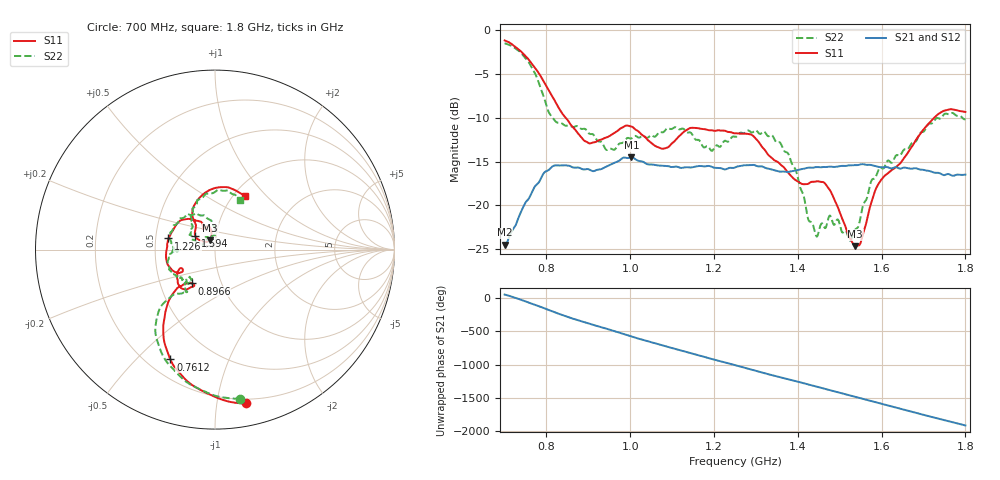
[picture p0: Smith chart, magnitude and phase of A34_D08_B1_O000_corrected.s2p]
! Created with skrf 1.9.0 (http://scikit-rf.org).
# Hz S RI R 50.0
!freq ReS11 ImS11 ReS21 ImS21 ReS12 ImS12 ReS22 ImS22
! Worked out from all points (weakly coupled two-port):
!   1601 points, 700 MHz to 1.8 GHz, reference 50 ohm
!   highest |S21| = -14.52 dB at 1.002 GHz (marker M1); lowest = -24.5 dB at 700 MHz (marker M2)
!   lowest |S11| = -24.7 dB at 1.537 GHz (marker M3), VSWR 1.12, Z = 47.2 + j4.92 ohm
!   |S11| at or under -10 dB: 845.9 MHz to 1.725 GHz (879.5 MHz wide, 68.4 % of centre)
!   |S22| runs from -24.1 to -1.5 dB; largest |S21 - S12| = 0.0036
!   S11 on the Smith chart (normalised r, x): 700 MHz: 0.17, -1.21; 761.2 MHz: 0.29, -0.63; 896.6 MHz: 0.72, -0.29; 1.226 GHz: 0.58, +0.08; 1.594 GHz: 0.79, +0.12; 1.8 GHz: 1.12, +0.76
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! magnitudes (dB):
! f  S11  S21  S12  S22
! 700 MHz  -1.2  -24.5  -24.3  -1.5
! 761.2 MHz  -3.6  -18.9  -18.8  -3.9
! 816.9 MHz  -7.8  -15.5  -15.6  -10.1
! 883.6 MHz  -12.2  -15.8  -15.7  -11.3
! 896.6 MHz  -12.8  -15.9  -16.0  -11.5
! 945.4 MHz  -12.2  -15.5  -15.6  -13.7
! 1.002 GHz  -11.0  -14.5  -14.6  -12.4
! 1.067 GHz  -13.4  -15.5  -15.4  -11.7
! 1.144 GHz  -11.2  -15.7  -15.7  -11.7
! 1.194 GHz  -11.4  -15.6  -15.6  -13.8
! 1.226 GHz  -11.5  -15.9  -15.9  -12.6
! 1.25 GHz  -11.8  -15.7  -15.6  -12.2
! 1.358 GHz  -15.3  -16.2  -16.1  -12.9
! 1.394 GHz  -17.1  -16.0  -16.0  -15.9
! 1.434 GHz  -17.3  -15.7  -15.7  -22.0
! 1.446 GHz  -17.3  -15.6  -15.6  -23.6
! 1.473 GHz  -18.1  -15.6  -15.6  -21.4
! 1.537 GHz  -24.7  -15.4  -15.4  -22.8
! 1.594 GHz  -17.4  -15.6  -15.6  -15.8
! 1.617 GHz  -16.3  -15.7  -15.7  -14.9
! 1.733 GHz  -9.6  -16.3  -16.3  -10.0
! 1.8 GHz  -9.3  -16.5  -16.5  -10.2
